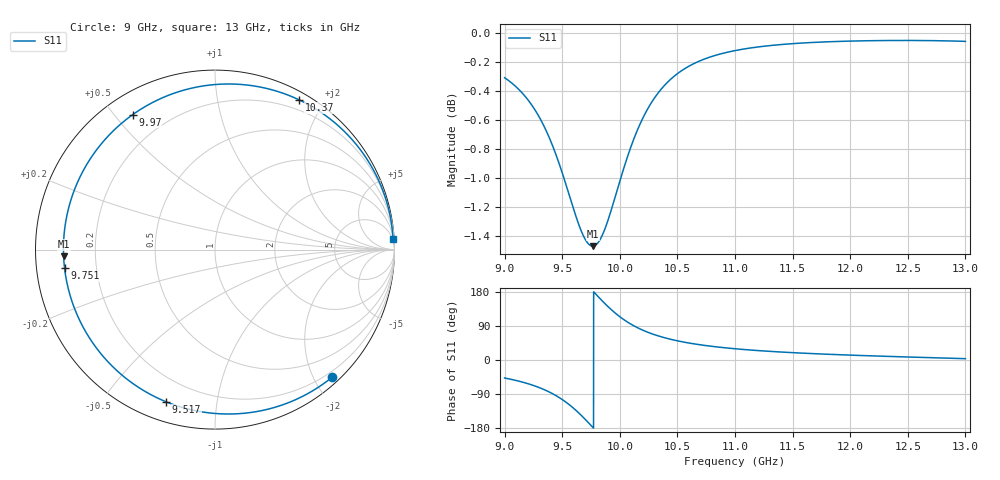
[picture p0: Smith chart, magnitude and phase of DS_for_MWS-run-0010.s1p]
! TOUCHSTONE file generated by CST DESIGN STUDIO
! Date and time: Tue Feb  4 14:00:22 2025
! Project name: C:\Work\MatlabApps\UnitCellOptimizationMatlab\CST\unitcell.cst
! Tree item: Tasks\Sweep1\SPara1\S-Parameters
! Header version: 2024
! Port assignment regex: !\s*Touchstone port\s*([0-9]+)\s*=\s*(CST MWS port|CST DES external port|CST DES block port)\s*(.+)\s* \(\"(.*)\"\)(\s*mode\s*([0-9]+))?.*
! Touchstone port assignment:
! Touchstone port 1 = CST DES external port 1 ("")
# GHz S MA R 50
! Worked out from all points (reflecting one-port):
!   4001 points, 9 GHz to 13 GHz, reference 50 ohm
!   lowest |S11| = -1.5 dB at 9.765 GHz (marker M1), VSWR 11.85, Z = 4.22 - j1.07 ohm
!   phase of S11 starts at -47 deg and turns -309 deg over the sweep
!   S11 on the Smith chart (normalised r, x): 9 GHz: 0.11, -2.27; 9.517 GHz: 0.09, -0.73; 9.751 GHz: 0.08, -0.06; 9.97 GHz: 0.08, +0.56; 10.37 GHz: 0.09, +1.71; 13 GHz: 4, +32
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9  0.965 -47.5
9.141  0.9545 -57.2
9.271  0.9397 -69.4
9.337  0.9295 -77.3
9.401  0.9176 -86.5
9.5  0.895 -104.3
9.517  0.8907 -107.8
9.575  0.8756 -121.3
9.63  0.8621 -135.8
9.695  0.8496 -155.1
9.751  0.8446 -173.0
9.765  0.8444 -177.5
9.809  0.8465 168.2
9.855  0.8529 153.6
9.913  0.8657 136.5
9.97  0.8808 121.4
10  0.889 114.2
10.067  0.9065 100.1
10.144  0.924 86.7
10.251  0.9428 72.3
10.366  0.957 60.7
10.5  0.9681 50.6
10.717  0.9788 39.3
11  0.986 29.7
11.5  0.9914 19.4
12  0.9934 12.8
12.5  0.9939 7.9
13  0.9932 3.5
